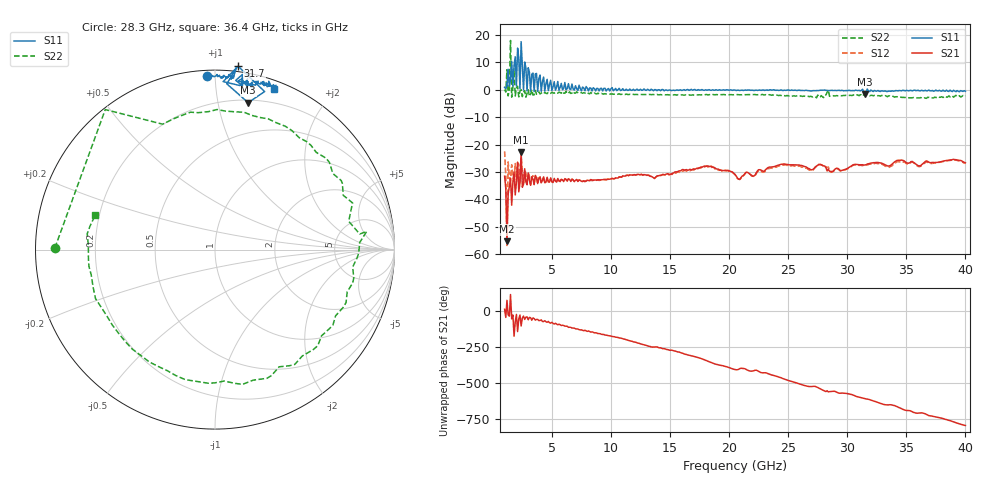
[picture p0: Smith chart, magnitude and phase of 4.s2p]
!Keysight Technologies,N5224A,MY55441802,A.10.65.16
!Date: Wednesday, May 13, 2026 18:59:41
!Correction: S11(Full 2 Port(1,2))
!S21(Full 2 Port(1,2))
!S12(Full 2 Port(1,2))
!S22(Full 2 Port(1,2))
!S2P File: Measurements: S11, S21, S12, S22:
# Hz S  dB  R 50
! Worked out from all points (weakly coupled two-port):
!   391 points, 1 GHz to 40 GHz, reference 50 ohm
!   highest |S21| = -22.79 dB at 2.4 GHz (marker M1); lowest = -55.3 dB at 1.2 GHz (marker M2)
!   lowest |S11| = -1.5 dB at 31.5 GHz (marker M3), VSWR 11.46, Z = 11.1 + j61.3 ohm
!   |S11| at or under -10 dB: nowhere
!   |S22| runs from -3.2 to 17.9 dB; largest |S21 - S12| = 0.049
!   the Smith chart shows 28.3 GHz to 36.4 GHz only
!   S11 on the Smith chart (normalised r, x): 28.3 GHz: 0.03, +0.95; 31.7 GHz: -0.03, +1.13; 36.4 GHz: 0.07, +1.43
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1e9  0.89 -109.1  -31.53 12.9  -22.49 8.6  0.06 -177.6
1.2e9  1.36 6.8  -55.33 74.9  -57.04 154.0  7.28 9.6
1.4e9  1.16 169.6  -35.32 -35.1  -31.99 -49.5  0.08 60.4
1.5e9  3.76 11.3  -32.24 115.3  -33.12 150.9  17.95 47.4
1.6e9  10.37 -148.7  -42.09 -54.1  -27.39 -47.2  -2.73 114.6
1.8e9  8.82 14.3  -29.96 -174.8  -32.29 -156.3  7.52 112.9
1.9e9  12.00 -157.9  -38.37 -75.0  -26.91 -56.1  -2.32 103.9
2.1e9  15.18 44.4  -26.41 -142.6  -26.61 -131.5  1.26 95.3
2.2e9  11.49 -164.1  -37.23 -54.3  -27.20 -60.9  -2.62 94.7
2.3e9  0.32 166.8  -33.99 -27.1  -33.92 -35.1  -0.52 71.7
2.4e9  17.51 91.6  -22.79 -103.6  -24.54 -95.3  0.01 79.1
2.5e9  8.36 -174.5  -35.56 -48.7  -30.06 -61.7  -2.52 84.3
7.5e9  -0.40 155.0  -33.41 -130.2  -33.45 -133.2  -1.06 -123.3
1.4e10  -0.01 136.0  -31.39 106.8  -31.46 105.6  -1.87 -18.0
2.05e10  -0.13 117.2  -30.92 -47.1  -30.86 -48.5  -1.84 74.3
2.7e10  -0.46 96.3  -29.23 -165.5  -29.35 -164.2  -2.54 174.8
2.83e10  -0.27 92.7  -29.62 165.2  -28.41 168.7  -0.99 179.4
3.15e10  -1.52 77.3  -27.41 109.7  -27.24 108.7  -1.40 6.8
3.17e10  0.25 82.8  -27.07 107.4  -27.41 107.3  -1.93 -1.5
3.35e10  -0.51 77.6  -27.86 66.8  -28.38 66.2  -2.28 -65.8
3.64e10  -0.39 69.8  -26.98 10.0  -27.23 10.6  -3.17 163.9
4e10  -0.57 60.6  -26.64 -76.4  -26.90 -76.7  -2.18 25.3
